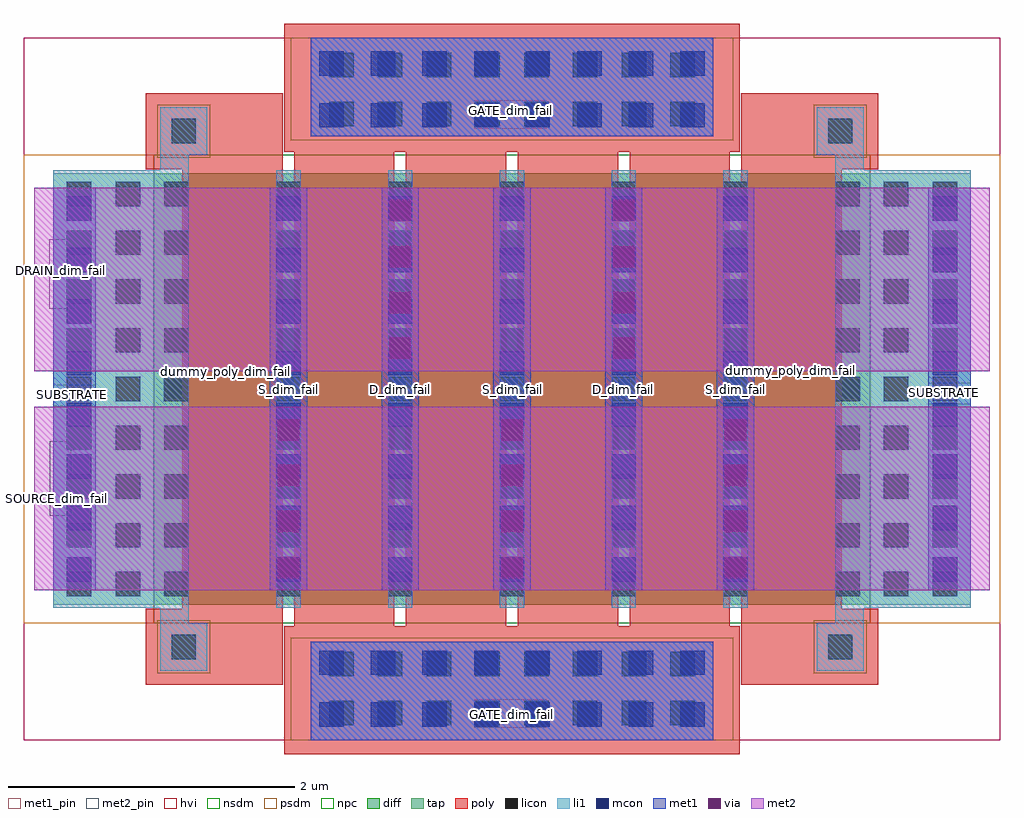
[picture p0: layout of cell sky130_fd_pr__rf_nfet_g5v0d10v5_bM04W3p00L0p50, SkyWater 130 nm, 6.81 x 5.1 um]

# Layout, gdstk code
import gdstk
lib = gdstk.Library(unit=1e-6, precision=1e-09)
def R(c, l, rs):  # rectangles x0, y0, x1, y1
    for r in rs: c.add(gdstk.rectangle(r[:2], r[2:], *l))
def A(c, l, x, y, w, h, nx, ny, dx, dy):  # array of equal rectangles
    R(c, l, [(x+i*dx, y+j*dy, x+i*dx+w, y+j*dy+h) for i in range(nx) for j in range(ny)])
def P(c, l, *ps):  # polygons
    for p in ps: c.add(gdstk.Polygon(p, *l))
diff = (65, 20)
tap = (65, 44)
poly = (66, 20)
licon = (66, 44)
li1 = (67, 20)
mcon = (67, 44)
met1_pin = (68, 16)
met1 = (68, 20)
via = (68, 44)
met2_pin = (69, 16)
met2 = (69, 20)
hvi = (75, 20)
nsdm = (93, 44)
psdm = (94, 20)
npc = (95, 20)

sky130_fd_pr__rf_nfet_g5 = lib.new_cell('sky130_fd_pr__rf_nfet_g5v0d10v5_bM04W3p00L0p50')
R(sky130_fd_pr__rf_nfet_g5, diff, [(0.905,0.945,5.905,3.955)])
R(sky130_fd_pr__rf_nfet_g5, tap, [(0.205,0.945,0.905,3.955), (5.905,0.945,6.605,3.955)])
P(sky130_fd_pr__rf_nfet_g5, poly, [(0.85,0.385),(0.85,0.915),(1.105,0.915),(1.105,3.985),(0.85,3.985),(0.85,4.515),(1.805,4.515),(1.805,0.385)],
  [(5.005,0.385),(5.005,4.515),(5.96,4.515),(5.96,3.985),(5.705,3.985),(5.705,0.915),(5.96,0.915),(5.96,0.385)],
  [(1.815,-0.1),(1.815,0.795),(1.885,0.795),(1.885,4.105),(2.585,4.105),(2.585,0.795),(2.665,0.795),(2.665,4.105),(3.365,4.105),(3.365,0.795),(3.445,0.795),(3.445,4.105),(4.145,4.105),(4.145,0.795),(4.225,0.795),(4.225,4.105),(1.815,4.105),(1.815,5),(4.995,5),(4.995,4.105),(4.925,4.105),(4.925,0.795),(4.995,0.795),(4.995,-0.1)])
A(sky130_fd_pr__rf_nfet_g5, licon, 2.13, 0.105, 0.17, 0.17, 8, 2, 0.34, 0.34)
A(sky130_fd_pr__rf_nfet_g5, licon, 0.3, 1.005, 0.17, 0.17, 3, 9, 0.34, 0.34)
A(sky130_fd_pr__rf_nfet_g5, licon, 1.76, 1.005, 0.17, 0.17, 6, 9, 0.78, 0.34)
A(sky130_fd_pr__rf_nfet_g5, licon, 6, 1.005, 0.17, 0.17, 1, 9, 0, 0.34)
A(sky130_fd_pr__rf_nfet_g5, licon, 6.34, 1.005, 0.17, 0.17, 1, 9, 0, 0.34)
A(sky130_fd_pr__rf_nfet_g5, licon, 2.13, 4.285, 0.17, 0.17, 8, 2, 0.34, 0.34)
R(sky130_fd_pr__rf_nfet_g5, licon, [(1.03,0.565,1.2,0.735), (5.61,0.565,5.78,0.735), (1.03,4.165,1.2,4.335), (5.61,4.165,5.78,4.335)])
A(sky130_fd_pr__rf_nfet_g5, li1, 1.76, 0.925, 0.17, 3.05, 5, 1, 0.78, 0)
A(sky130_fd_pr__rf_nfet_g5, li1, 1.76, 1.105, 0.17, 2.69, 5, 1, 0.78, 0)
R(sky130_fd_pr__rf_nfet_g5, li1, [(2,0,4.81,0.685), (0.95,0.485,1.28,0.815), (5.53,0.485,5.86,0.815), (0.95,0.815,1.15,0.925), (5.66,0.815,5.86,0.925), (0.205,0.925,1.15,3.975), (5.66,0.925,6.605,3.975), (0.95,3.975,1.15,4.085), (5.66,3.975,5.86,4.085), (0.95,4.085,1.28,4.415), (5.53,4.085,5.86,4.415), (2,4.215,4.81,4.9)])
A(sky130_fd_pr__rf_nfet_g5, mcon, 2.06, 0.095, 0.17, 0.17, 8, 2, 0.36, 0.36)
A(sky130_fd_pr__rf_nfet_g5, mcon, 0.3, 1.105, 0.17, 0.17, 1, 8, 0, 0.36)
A(sky130_fd_pr__rf_nfet_g5, mcon, 1.76, 1.105, 0.17, 0.17, 5, 8, 0.78, 0.36)
A(sky130_fd_pr__rf_nfet_g5, mcon, 6.34, 1.105, 0.17, 0.17, 1, 8, 0, 0.36)
A(sky130_fd_pr__rf_nfet_g5, mcon, 2.06, 4.275, 0.17, 0.17, 8, 2, 0.36, 0.36)
R(sky130_fd_pr__rf_nfet_g5, met1_pin, [(3.14,0.085,3.645,0.285), (0.205,2.33,0.5,2.48), (6.31,2.345,6.605,2.495), (3.14,4.265,3.645,4.465)])
A(sky130_fd_pr__rf_nfet_g5, met1, 1.715, 1.045, 0.26, 1.28, 3, 1, 1.56, 0)
A(sky130_fd_pr__rf_nfet_g5, met1, 1.715, 1.045, 0.26, 2.81, 5, 1, 0.78, 0)
R(sky130_fd_pr__rf_nfet_g5, met1, [(2,0,4.81,0.685), (0.205,1.045,0.5,3.855), (6.31,1.045,6.605,3.855), (2.495,2.575,2.755,3.855), (4.055,2.575,4.315,3.855), (2,4.215,4.81,4.9)])
A(sky130_fd_pr__rf_nfet_g5, via, 1.77, 1.13, 0.15, 0.15, 3, 4, 1.56, 0.32)
A(sky130_fd_pr__rf_nfet_g5, via, 2.55, 2.66, 0.15, 0.15, 1, 4, 0, 0.32)
A(sky130_fd_pr__rf_nfet_g5, via, 4.11, 2.66, 0.15, 0.15, 1, 4, 0, 0.32)
R(sky130_fd_pr__rf_nfet_g5, met2_pin, [(0.18,1.565,0.33,2.085), (0.175,3.01,0.35,3.495)])
A(sky130_fd_pr__rf_nfet_g5, met2, 1.715, 1.045, 0.26, 1.28, 3, 1, 1.56, 0)
R(sky130_fd_pr__rf_nfet_g5, met2, [(0.07,1.045,6.74,2.325), (0.07,2.575,6.74,3.855), (2.495,2.575,2.755,3.855), (4.055,2.575,4.315,3.855)])
R(sky130_fd_pr__rf_nfet_g5, hvi, [(0,0,6.81,4.9)])
R(sky130_fd_pr__rf_nfet_g5, nsdm, [(0.905,0.815,5.905,4.085)])
R(sky130_fd_pr__rf_nfet_g5, psdm, [(0,0.815,0.905,4.085), (5.905,0.815,6.81,4.085)])
R(sky130_fd_pr__rf_nfet_g5, npc, [(1.86,0,4.95,0.715), (0.93,0.465,1.3,0.835), (5.51,0.465,5.88,0.835), (0.93,4.065,1.3,4.435), (5.51,4.065,5.88,4.435), (1.86,4.185,4.95,4.9)])
sky130_fd_pr__rf_nfet_g5.add(gdstk.Label('GATE_dim_fail', (3.395,4.39), layer=68, texttype=5))
sky130_fd_pr__rf_nfet_g5.add(gdstk.Label('GATE_dim_fail', (3.4,0.18), layer=68, texttype=5))
sky130_fd_pr__rf_nfet_g5.add(gdstk.Label('DRAIN_dim_fail', (0.255,3.275), layer=69, texttype=5))
sky130_fd_pr__rf_nfet_g5.add(gdstk.Label('SOURCE_dim_fail', (0.23,1.685), layer=69, texttype=5))
sky130_fd_pr__rf_nfet_g5.add(gdstk.Label('S_dim_fail', (4.965,2.45), layer=83, texttype=44))
sky130_fd_pr__rf_nfet_g5.add(gdstk.Label('D_dim_fail', (4.185,2.45), layer=83, texttype=44))
sky130_fd_pr__rf_nfet_g5.add(gdstk.Label('S_dim_fail', (3.405,2.45), layer=83, texttype=44))
sky130_fd_pr__rf_nfet_g5.add(gdstk.Label('D_dim_fail', (2.625,2.45), layer=83, texttype=44))
sky130_fd_pr__rf_nfet_g5.add(gdstk.Label('S_dim_fail', (1.845,2.45), layer=83, texttype=44))
sky130_fd_pr__rf_nfet_g5.add(gdstk.Label('S_dim_fail', (4.185,2.45), layer=83, texttype=44))
sky130_fd_pr__rf_nfet_g5.add(gdstk.Label('S_dim_fail', (3.405,2.45), layer=83, texttype=44))
sky130_fd_pr__rf_nfet_g5.add(gdstk.Label('S_dim_fail', (2.625,2.45), layer=83, texttype=44))
sky130_fd_pr__rf_nfet_g5.add(gdstk.Label('S_dim_fail', (1.845,2.45), layer=83, texttype=44))
sky130_fd_pr__rf_nfet_g5.add(gdstk.Label('dummy_poly_dim_fail', (1.405,2.57), layer=83, texttype=44))
sky130_fd_pr__rf_nfet_g5.add(gdstk.Label('dummy_poly_dim_fail', (5.345,2.58), layer=83, texttype=44))
sky130_fd_pr__rf_nfet_g5.add(gdstk.Label('model_use_only_dim_fail', (2.19,2.47), layer=66, texttype=83))
sky130_fd_pr__rf_nfet_g5.add(gdstk.Label('model_use_only_dim_fail', (3.015,2.49), layer=66, texttype=83))
sky130_fd_pr__rf_nfet_g5.add(gdstk.Label('model_use_only_dim_fail', (3.78,2.44), layer=66, texttype=83))
sky130_fd_pr__rf_nfet_g5.add(gdstk.Label('model_use_only_dim_fail', (4.53,2.485), layer=66, texttype=83))
sky130_fd_pr__rf_nfet_g5.add(gdstk.Label('model_use_only_dim_fail', (1.615,2.45), layer=66, texttype=83))
sky130_fd_pr__rf_nfet_g5.add(gdstk.Label('model_use_only_dim_fail', (5.165,2.45), layer=66, texttype=83))
sky130_fd_pr__rf_nfet_g5.add(gdstk.Label('SUBSTRATE', (0.335,2.41), layer=68, texttype=16))
sky130_fd_pr__rf_nfet_g5.add(gdstk.Label('SUBSTRATE', (6.42,2.425), layer=68, texttype=16))

lib.write_gds('sky130_fd_pr__rf_nfet_g5v0d10v5_bM04W3p00L0p50.gds')
